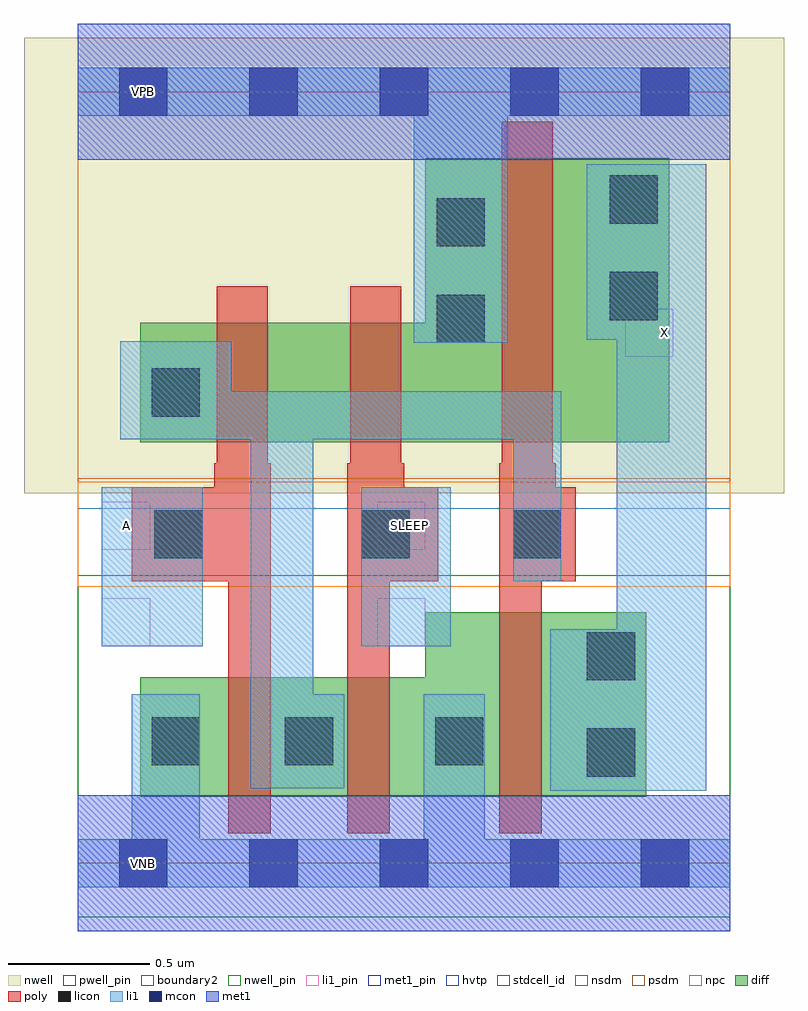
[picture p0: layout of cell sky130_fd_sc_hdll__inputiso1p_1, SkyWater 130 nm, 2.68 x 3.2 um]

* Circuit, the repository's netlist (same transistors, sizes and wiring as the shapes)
* Copyright 2020 The SkyWater PDK Authors
*
* Licensed under the Apache License, Version 2.0 (the "License");
* you may not use this file except in compliance with the License.
* You may obtain a copy of the License at
*
*     https://www.apache.org/licenses/LICENSE-2.0
*
* Unless required by applicable law or agreed to in writing, software
* distributed under the License is distributed on an "AS IS" BASIS,
* WITHOUT WARRANTIES OR CONDITIONS OF ANY KIND, either express or implied.
* See the License for the specific language governing permissions and
* limitations under the License.
*
* SPDX-License-Identifier: Apache-2.0

.SUBCKT sky130_fd_sc_hdll__inputiso1p_1 A SLEEP VGND VNB VPB VPWR X
*.PININFO A:I SLEEP:I VGND:I VNB:I VPB:I VPWR:I X:O
MMP0 VPWR SLEEP sndPA VPB sky130_fd_pr__pfet_01v8_hvt m=1 w=0.42U l=0.18U mult=1
+ sa=0.265 sb=0.265 sd=0.28 area=0.063 perim=1.14
MI7 sndPA A net36 VPB sky130_fd_pr__pfet_01v8_hvt m=1 w=0.42U l=0.18U mult=1 sa=0.265
+ sb=0.265 sd=0.28 area=0.063 perim=1.14
MI15 VPWR net36 X VPB sky130_fd_pr__pfet_01v8_hvt m=1 w=1.0U l=0.18U mult=1 sa=0.265
+ sb=0.265 sd=0.28 area=0.063 perim=1.14
MI10 net36 A VGND VNB sky130_fd_pr__nfet_01v8 m=1 w=0.42U l=0.15U mult=1 sa=0.265
+ sb=0.265 sd=0.28 area=0.063 perim=1.14
MI16 net36 SLEEP VGND VNB sky130_fd_pr__nfet_01v8 m=1 w=0.42U l=0.15U mult=1 sa=0.265
+ sb=0.265 sd=0.28 area=0.063 perim=1.14
MI14 X net36 VGND VNB sky130_fd_pr__nfet_01v8 m=1 w=0.65U l=0.15U mult=1 sa=0.265
+ sb=0.265 sd=0.28 area=0.063 perim=1.14
.ENDS sky130_fd_sc_hdll__inputiso1p_1

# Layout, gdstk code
import gdstk
lib = gdstk.Library(unit=1e-6, precision=1e-09)
def R(c, l, rs):  # rectangles x0, y0, x1, y1
    for r in rs: c.add(gdstk.rectangle(r[:2], r[2:], *l))
def A(c, l, x, y, w, h, nx, ny, dx, dy):  # array of equal rectangles
    R(c, l, [(x+i*dx, y+j*dy, x+i*dx+w, y+j*dy+h) for i in range(nx) for j in range(ny)])
def P(c, l, *ps):  # polygons
    for p in ps: c.add(gdstk.Polygon(p, *l))
nwell_pin = (64, 16)
nwell = (64, 20)
diff = (65, 20)
poly = (66, 20)
licon = (66, 44)
li1_pin = (67, 16)
li1 = (67, 20)
mcon = (67, 44)
met1_pin = (68, 16)
met1 = (68, 20)
hvtp = (78, 44)
stdcell_id = (81, 4)
nsdm = (93, 44)
psdm = (94, 20)
npc = (95, 20)
pwell_pin = (122, 16)
boundary2 = (236, 0)

sky130_fd_sc_hdll__input = lib.new_cell('sky130_fd_sc_hdll__inputiso1p_1')
R(sky130_fd_sc_hdll__input, nwell_pin, [(0.145,2.635,0.315,2.805)])
R(sky130_fd_sc_hdll__input, nwell, [(-0.19,1.305,2.49,2.91)])
P(sky130_fd_sc_hdll__input, diff, [(2.005,0.885),(1.225,0.885),(1.225,0.655),(0.22,0.655),(0.22,0.235),(2.005,0.235)],
  [(2.085,2.485),(1.225,2.485),(1.225,1.905),(0.22,1.905),(0.22,1.485),(2.085,1.485)])
P(sky130_fd_sc_hdll__input, poly, [(0.68,1.41),(0.67,1.41),(0.67,2.035),(0.49,2.035),(0.49,1.41),(0.48,1.41),(0.48,1.325),(0.19,1.325),(0.19,0.995),(0.53,0.995),(0.53,0.105),(0.68,0.105)],
  [(1.27,1.325),(1.15,1.325),(1.15,1.41),(1.14,1.41),(1.14,2.035),(0.96,2.035),(0.96,1.41),(0.95,1.41),(0.95,0.105),(1.1,0.105),(1.1,0.995),(1.27,0.995)],
  [(1.755,1.325),(1.685,1.325),(1.685,1.41),(1.675,1.41),(1.675,2.615),(1.495,2.615),(1.495,1.41),(1.485,1.41),(1.485,0.105),(1.635,0.105),(1.635,0.995),(1.755,0.995)])
R(sky130_fd_sc_hdll__input, licon, [(1.795,0.305,1.965,0.475), (0.26,0.345,0.43,0.515), (0.73,0.345,0.9,0.515), (1.26,0.345,1.43,0.515), (1.795,0.645,1.965,0.815), (0.27,1.075,0.44,1.245), (1,1.075,1.17,1.245), (1.535,1.075,1.705,1.245), (0.26,1.575,0.43,1.745), (1.265,1.835,1.435,2.005), (1.875,1.915,2.045,2.085), (1.265,2.175,1.435,2.345), (1.875,2.255,2.045,2.425)])
R(sky130_fd_sc_hdll__input, li1_pin, [(0.085,0.765,0.255,0.935), (1.055,0.765,1.225,0.935), (0.085,1.105,0.255,1.275), (1.055,1.105,1.225,1.275), (1.93,1.785,2.1,1.955)])
R(sky130_fd_sc_hdll__input, li1, [(0.085,0.765,0.44,1.325), (1,0.765,1.315,1.325)])
P(sky130_fd_sc_hdll__input, li1, [(2.215,2.465),(1.795,2.465),(1.795,1.845),(1.9,1.845),(1.9,0.825),(1.665,0.825),(1.665,0.255),(2.215,0.255)],
  [(1.705,1.665),(0.54,1.665),(0.54,1.84),(0.15,1.84),(0.15,1.495),(0.61,1.495),(0.61,0.265),(0.94,0.265),(0.94,0.595),(0.83,0.595),(0.83,1.495),(1.535,1.495),(1.535,0.995),(1.705,0.995)],
  [(2.3,2.805),(0,2.805),(0,2.635),(1.185,2.635),(1.185,1.835),(1.515,1.835),(1.515,2.635),(2.3,2.635)],
  [(2.3,0.085),(1.435,0.085),(1.435,0.595),(1.22,0.595),(1.22,0.085),(0.43,0.085),(0.43,0.595),(0.19,0.595),(0.19,0.085),(0,0.085),(0,-0.085),(2.3,-0.085)])
A(sky130_fd_sc_hdll__input, mcon, 0.145, -0.085, 0.17, 0.17, 5, 2, 0.46, 2.72)
R(sky130_fd_sc_hdll__input, met1_pin, [(0.145,-0.085,0.315,0.085), (0.145,2.635,0.315,2.805)])
R(sky130_fd_sc_hdll__input, met1, [(0,-0.24,2.3,0.24), (0,2.48,2.3,2.96)])
R(sky130_fd_sc_hdll__input, hvtp, [(0,1.25,2.3,2.72)])
R(sky130_fd_sc_hdll__input, stdcell_id, [(0,0,2.3,2.72)])
R(sky130_fd_sc_hdll__input, nsdm, [(0,-0.19,2.3,1.015)])
R(sky130_fd_sc_hdll__input, psdm, [(0,1.355,2.3,2.91)])
R(sky130_fd_sc_hdll__input, npc, [(0,0.975,2.3,1.345)])
R(sky130_fd_sc_hdll__input, pwell_pin, [(0.145,-0.085,0.315,0.085)])
R(sky130_fd_sc_hdll__input, boundary2, [(0,0,2.3,2.72)])
sky130_fd_sc_hdll__input.add(gdstk.Label('SLEEP', (1.17,1.19), layer=67, texttype=5))
sky130_fd_sc_hdll__input.add(gdstk.Label('X', (2.07,1.87), layer=67, texttype=5))
sky130_fd_sc_hdll__input.add(gdstk.Label('A', (0.17,1.19), layer=67, texttype=5))
sky130_fd_sc_hdll__input.add(gdstk.Label('VPB', (0.23,2.72), layer=64, texttype=5))
sky130_fd_sc_hdll__input.add(gdstk.Label('VNB', (0.23,0), layer=64, texttype=59))
sky130_fd_sc_hdll__input.add(gdstk.Label('VGND', (0.23,0), layer=68, texttype=5))
sky130_fd_sc_hdll__input.add(gdstk.Label('VPWR', (0.23,2.72), layer=68, texttype=5))
sky130_fd_sc_hdll__input.add(gdstk.Label('sky130_fd_sc_hdll__lpflow_inputiso1p_1', (0,0), layer=83, texttype=44))

lib.write_gds('sky130_fd_sc_hdll__inputiso1p_1.gds')
